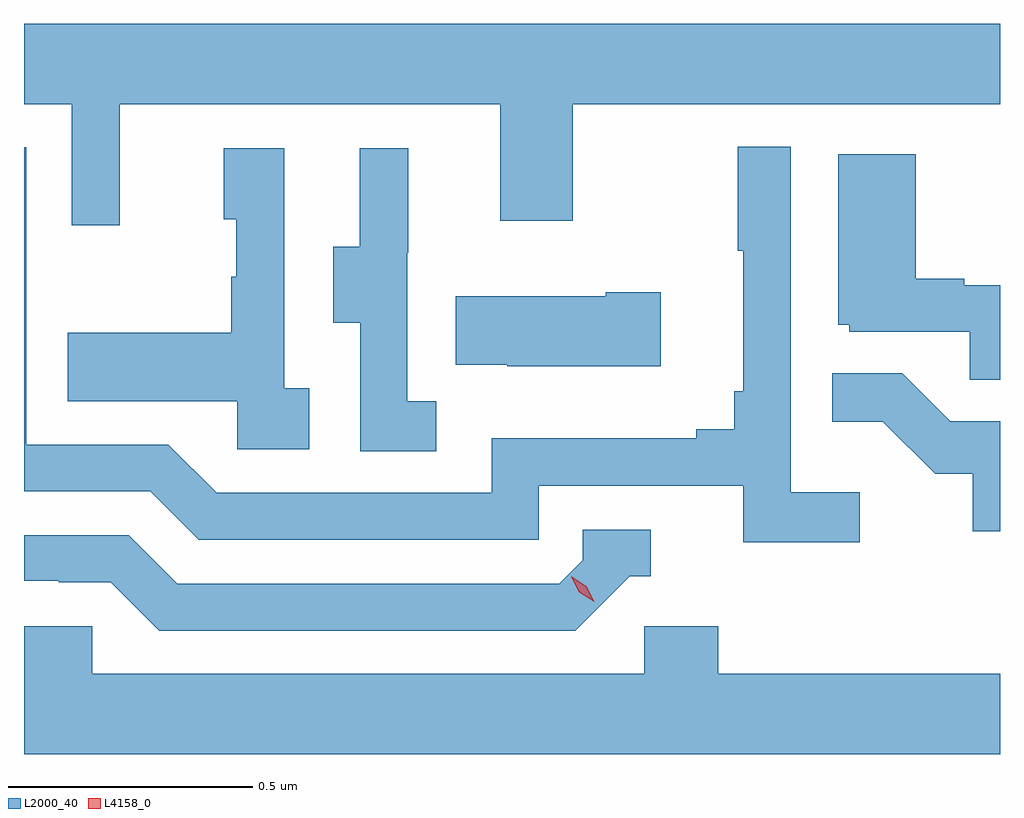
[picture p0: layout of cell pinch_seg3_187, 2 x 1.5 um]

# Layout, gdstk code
import gdstk
lib = gdstk.Library(unit=1e-6, precision=1e-09)
def P(c, l, *ps):  # polygons
    for p in ps: c.add(gdstk.Polygon(p, *l))
L2000_40 = (2000, 40)
L4158_0 = (4158, 0)

pinch_seg3_187 = lib.new_cell('pinch_seg3_187')
P(pinch_seg3_187, L2000_40, [(989.711,736.88),(990.491,736.88),(990.491,736.641),(990.639,736.641),(990.639,736.88),(991.515,736.88),(991.515,737.044),(989.515,737.044),(989.515,736.88),(989.613,736.88),(989.613,736.632),(989.711,736.632)],
  [(991.228,736.084),(991.086,736.084),(991.086,736.792),(990.978,736.792),(990.978,736.579),(990.989,736.579),(990.989,736.291),(990.97,736.291),(990.97,736.214),(990.893,736.214),(990.893,736.195),(990.474,736.195),(990.474,736.083),(989.91,736.083),(989.811,736.182),(989.52,736.182),(989.52,736.791),(989.515,736.791),(989.515,736.086),(989.774,736.086),(989.873,735.987),(990.57,735.987),(990.57,736.098),(990.989,736.098),(990.989,735.982),(991.228,735.982)],
  [(990.1,736.298),(990.048,736.298),(990.048,736.789),(989.924,736.789),(989.924,736.644),(989.95,736.644),(989.95,736.526),(989.94,736.526),(989.94,736.411),(989.605,736.411),(989.605,736.271),(989.952,736.271),(989.952,736.173),(990.1,736.173)],
  [(990.36,736.271),(990.3,736.271),(990.3,736.575),(990.302,736.575),(990.302,736.789),(990.203,736.789),(990.203,736.587),(990.149,736.587),(990.149,736.432),(990.204,736.432),(990.204,736.168),(990.36,736.168)],
  [(991.515,736.509),(991.442,736.509),(991.442,736.522),(991.342,736.522),(991.342,736.777),(991.184,736.777),(991.184,736.428),(991.206,736.428),(991.206,736.413),(991.453,736.413),(991.453,736.315),(991.515,736.315)],
  [(990.82,736.494),(990.707,736.494),(990.707,736.486),(990.4,736.486),(990.4,736.346),(990.505,736.346),(990.505,736.343),(990.82,736.343)],
  [(991.515,736.23),(991.413,736.23),(991.315,736.328),(991.171,736.328),(991.171,736.229),(991.275,736.229),(991.382,736.122),(991.459,736.122),(991.459,736.005),(991.515,736.005)],
  [(990.756,735.912),(990.799,735.912),(990.799,736.008),(990.66,736.008),(990.66,735.945),(990.612,735.897),(989.829,735.897),(989.73,735.996),(989.515,735.996),(989.515,735.903),(989.586,735.903),(989.586,735.9),(989.693,735.9),(989.792,735.801),(990.645,735.801)],
  [(991.515,735.712),(990.938,735.712),(990.938,735.81),(990.786,735.81),(990.786,735.712),(989.655,735.712),(989.655,735.81),(989.515,735.81),(989.515,735.548),(991.515,735.548)])
P(pinch_seg3_187, L4158_0, [(990.684,735.86),(990.653,735.879),(990.636,735.911),(990.636,735.912),(990.636,735.912),(990.667,735.892),(990.684,735.86),(990.684,735.86)])

lib.write_gds('pinch_seg3_187.gds')
